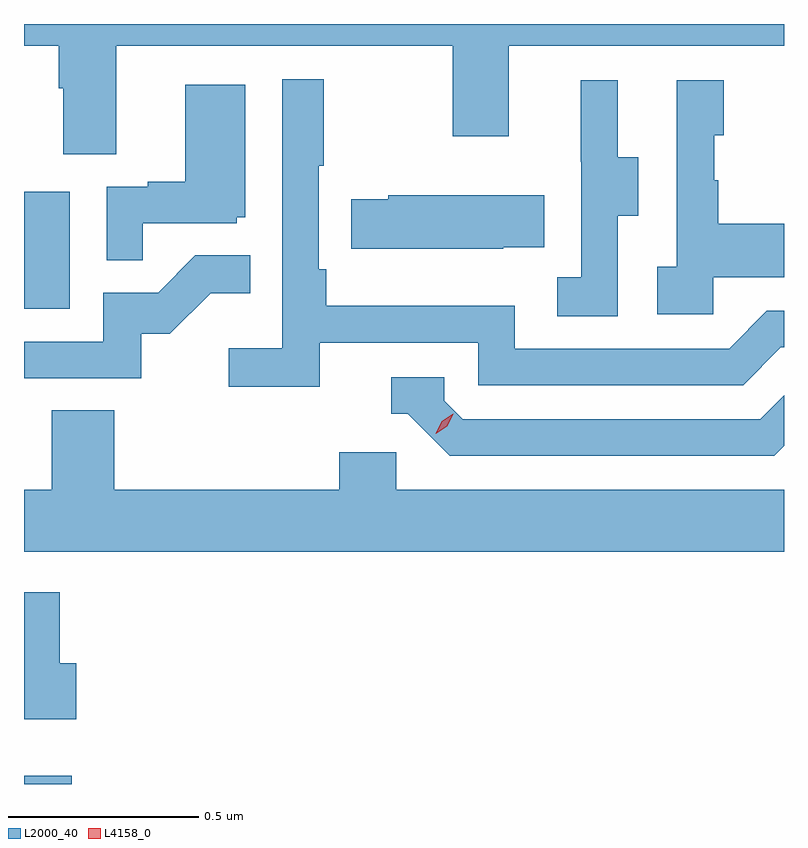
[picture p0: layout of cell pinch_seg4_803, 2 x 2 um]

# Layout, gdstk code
import gdstk
lib = gdstk.Library(unit=1e-6, precision=1e-09)
def R(c, l, rs):  # rectangles x0, y0, x1, y1
    for r in rs: c.add(gdstk.rectangle(r[:2], r[2:], *l))
def P(c, l, *ps):  # polygons
    for p in ps: c.add(gdstk.Polygon(p, *l))
L2000_40 = (2000, 40)
L4158_0 = (4158, 0)

pinch_seg4_803 = lib.new_cell('pinch_seg4_803')
R(pinch_seg4_803, L2000_40, [(821.596,817.521,821.722,817.543), (821.596,818.772,821.716,819.079)])
P(pinch_seg4_803, L2000_40, [(821.839,819.464),(822.724,819.464),(822.724,819.225),(822.871,819.225),(822.871,819.464),(823.596,819.464),(823.596,819.521),(821.596,819.521),(821.596,819.464),(821.687,819.464),(821.687,819.352),(821.699,819.352),(821.699,819.178),(821.839,819.178)],
  [(822.374,818.682),(822.792,818.682),(822.792,818.571),(823.489,818.571),(823.588,818.67),(823.596,818.67),(823.596,818.766),(823.551,818.766),(823.452,818.667),(822.888,818.667),(822.888,818.779),(822.392,818.779),(822.392,818.875),(822.372,818.875),(822.372,819.148),(822.385,819.148),(822.385,819.376),(822.276,819.376),(822.276,818.668),(822.135,818.668),(822.135,818.566),(822.374,818.566)],
  [(823.41,818.855),(823.596,818.855),(823.596,818.995),(823.423,818.995),(823.423,819.11),(823.413,819.11),(823.413,819.228),(823.438,819.228),(823.438,819.373),(823.314,819.373),(823.314,818.882),(823.263,818.882),(823.263,818.757),(823.41,818.757)],
  [(823.158,819.016),(823.213,819.016),(823.213,819.171),(823.159,819.171),(823.159,819.373),(823.061,819.373),(823.061,819.159),(823.062,819.159),(823.062,818.855),(822.999,818.855),(822.999,818.752),(823.158,818.752)],
  [(821.909,818.997),(822.156,818.997),(822.156,819.012),(822.178,819.012),(822.178,819.361),(822.02,819.361),(822.02,819.106),(821.921,819.106),(821.921,819.093),(821.814,819.093),(821.814,818.899),(821.909,818.899)],
  [(822.857,818.933),(822.965,818.933),(822.965,819.07),(822.555,819.07),(822.555,819.06),(822.457,819.06),(822.457,818.93),(822.857,818.93)],
  [(821.904,818.706),(821.98,818.706),(822.087,818.813),(822.191,818.813),(822.191,818.912),(822.047,818.912),(821.949,818.814),(821.805,818.814),(821.805,818.685),(821.596,818.685),(821.596,818.589),(821.904,818.589)],
  [(823.596,818.411),(823.596,818.544),(823.533,818.481),(822.75,818.481),(822.702,818.529),(822.702,818.592),(822.563,818.592),(822.563,818.496),(822.606,818.496),(822.717,818.385),(823.57,818.385)],
  [(823.596,818.296),(822.576,818.296),(822.576,818.394),(822.425,818.394),(822.425,818.296),(821.834,818.296),(821.834,818.504),(821.669,818.504),(821.669,818.296),(821.596,818.296),(821.596,818.132),(823.596,818.132)],
  [(821.734,817.839),(821.69,817.839),(821.69,818.026),(821.596,818.026),(821.596,817.691),(821.734,817.691)])
P(pinch_seg4_803, L4158_0, [(822.679,818.443),(822.679,818.443),(822.695,818.476),(822.725,818.495),(822.725,818.495),(822.725,818.495),(822.71,818.463),(822.679,818.443)])

lib.write_gds('pinch_seg4_803.gds')
